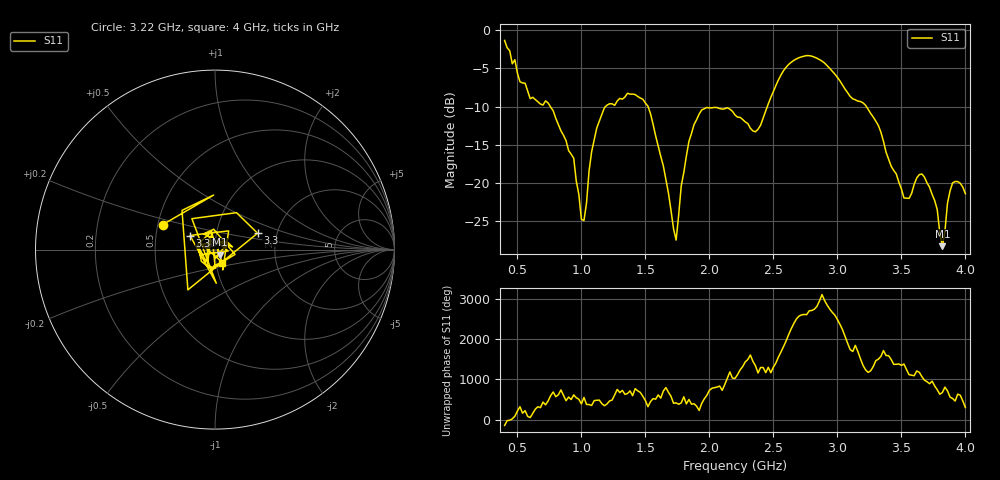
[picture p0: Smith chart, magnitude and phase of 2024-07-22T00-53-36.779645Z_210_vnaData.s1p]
!Created with skrf (http://scikit-rf.org).
# Hz S RI R 50.0
!freq ReS11 ImS11
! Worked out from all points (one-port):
!   181 points, 400 MHz to 4 GHz, reference 50 ohm
!   lowest |S11| = -28.3 dB at 3.82 GHz (marker M1), VSWR 1.08, Z = 52.5 - j3.05 ohm
!   |S11| at or under -10 dB: 757.7 MHz to 1.188 GHz (430 MHz wide, 44.2 % of centre); 1.521 GHz to 2.452 GHz (930.8 MHz wide, 46.9 % of centre); 3.227 GHz to end of sweep
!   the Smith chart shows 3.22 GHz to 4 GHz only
!   S11 on the Smith chart (normalised r, x): 3.22 GHz: 0.53, +0.17; 3.3 GHz: 1.58, +0.31; 3.38 GHz: 0.75, +0.12; 4 GHz: 1.07, -0.16
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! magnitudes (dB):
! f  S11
! 400 MHz  -1.3
! 600 MHz  -9.0
! 740 MHz  -9.5
! 860 MHz  -13.7
! 940 MHz  -16.8
! 1 GHz  -24.8
! 1.02 GHz  -24.9
! 1.12 GHz  -12.8
! 1.3 GHz  -8.9
! 1.52 GHz  -9.9
! 1.74 GHz  -27.5
! 1.76 GHz  -24.2
! 1.84 GHz  -14.5
! 1.92 GHz  -11.0
! 2.2 GHz  -11.1
! 2.36 GHz  -13.3
! 2.66 GHz  -3.9
! 2.88 GHz  -4.0
! 3.1 GHz  -8.7
! 3.22 GHz  -9.8
! 3.3 GHz  -11.9
! 3.38 GHz  -16.0
! 3.56 GHz  -22.0
! 3.68 GHz  -19.2
! 3.78 GHz  -23.5
! 3.82 GHz  -28.3
! 3.9 GHz  -20.0
! 4 GHz  -21.4
